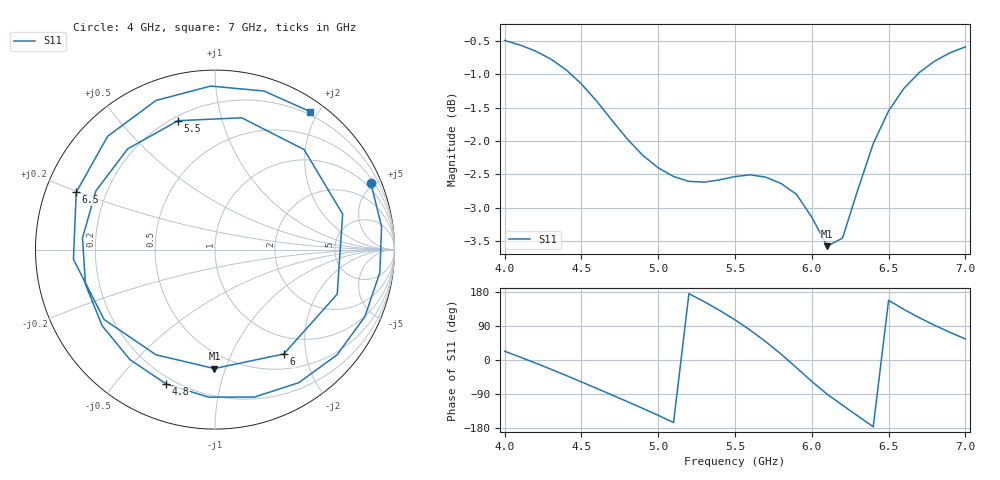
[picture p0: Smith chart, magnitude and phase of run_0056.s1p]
! Touchstone file exported from HFSS 2024.2.0
!  File:  C:/Users/wsak9/Desktop/Sim Fast/Widenad Patch/WP_AI_V1_sweep.aedt
!  Generated:  05:15:41 PM Oct 13, 2026
!  Design:  A1_model
!  Project:  WP_AI_V1_sweep
!  Setup:  Setup1
!  Solution:  Sweep
! Variables:
!  Air_gap = 3.54mm
!  Curve_Amp1 = 0.87
!  Curve_len1 = 1
!  Curve_pos = 10.465mm
!  Extra = 1.44mm
!  H_sub = 0.79mm
!  L_Patch = 16.93mm
!  L_Patch1 = 18.4mm
!  Sx = 2.93mm
!  Sy = 2.79mm
!  WS = 1.29mm
!  W_Patch = 11.77mm
!  W_Patch1 = 16.96mm
!Data is not renormalized
# GHz S MA
! Terminal data exported
! Port[1] = 1
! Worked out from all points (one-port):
!   31 points, 4 GHz to 7 GHz, reference per port
!   lowest |S11| = -3.6 dB at 6.1 GHz (marker M1), VSWR 4.93
!   |S11| at or under -10 dB: nowhere
!   S11 on the Smith chart (normalised r, x): 4 GHz: 0.69, +4.77; 4.8 GHz: 0.17, -0.69; 5.5 GHz: 0.22, +0.73; 6 GHz: 0.72, -1.62; 6.5 GHz: 0.09, +0.20; 7 GHz: 0.16, +1.89
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4  0.9444 23.2
4.2  0.9274 -7.9
4.4  0.8979 -40.8
4.5  0.8763 -57.8
4.6  0.8505 -75.0
4.7  0.8229 -92.4
4.8  0.7967 -110.0
5  0.7584 -146.0
5.1  0.7471 -165.1
5.2  0.741 175.0
5.3  0.74 153.8
5.4  0.7429 130.9
5.5  0.7471 106.0
5.6  0.7494 78.5
5.7  0.7463 48.3
5.8  0.7382 15.6
5.9  0.7247 -20.0
6  0.6966 -56.6
6.1  0.6627 -90.3
6.2  0.672 -119.3
6.3  0.7304 -147.8
6.4  0.7906 -176.1
6.5  0.8365 157.5
6.6  0.8696 133.5
6.7  0.8937 111.6
6.8  0.9114 91.5
6.9  0.9246 72.9
7  0.934 55.5
